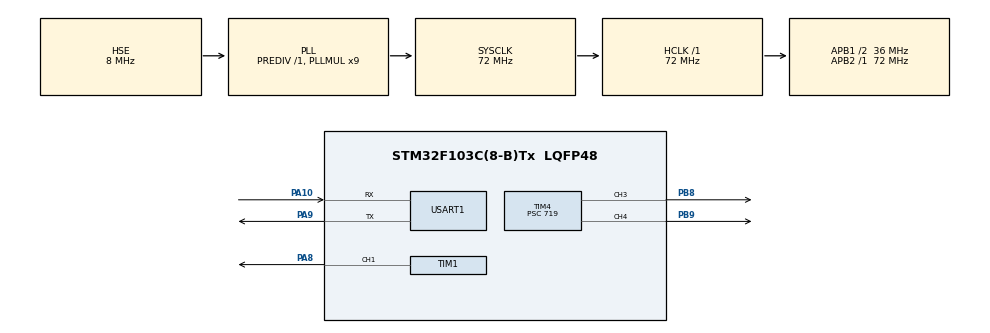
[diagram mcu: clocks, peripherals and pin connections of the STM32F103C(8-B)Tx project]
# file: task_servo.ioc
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Dma.Request0=USART1_RX
Dma.Request1=USART1_TX
Dma.USART1_RX.0.Direction=DMA_PERIPH_TO_MEMORY
Dma.USART1_RX.0.Instance=DMA1_Channel5
Dma.USART1_RX.0.MemDataAlignment=DMA_MDATAALIGN_BYTE
Dma.USART1_RX.0.MemInc=DMA_MINC_ENABLE
Dma.USART1_RX.0.Mode=DMA_NORMAL
Dma.USART1_RX.0.PeriphDataAlignment=DMA_PDATAALIGN_BYTE
Dma.USART1_RX.0.PeriphInc=DMA_PINC_DISABLE
Dma.USART1_RX.0.Priority=DMA_PRIORITY_LOW
Dma.USART1_TX.1.Direction=DMA_MEMORY_TO_PERIPH
Dma.USART1_TX.1.Instance=DMA1_Channel4
Dma.USART1_TX.1.MemDataAlignment=DMA_MDATAALIGN_BYTE
Dma.USART1_TX.1.MemInc=DMA_MINC_ENABLE
Dma.USART1_TX.1.Mode=DMA_NORMAL
Dma.USART1_TX.1.PeriphDataAlignment=DMA_PDATAALIGN_BYTE
Dma.USART1_TX.1.PeriphInc=DMA_PINC_DISABLE
Dma.USART1_TX.1.Priority=DMA_PRIORITY_LOW
Mcu.Family=STM32F1
Mcu.Name=STM32F103C(8-B)Tx
Mcu.Package=LQFP48
NVIC.DMA1_Channel4_IRQn=true\:0\:0\:false\:false\:true\:false\:true\:true
NVIC.DMA1_Channel5_IRQn=true\:0\:0\:false\:false\:true\:false\:true\:true
NVIC.PriorityGroup=NVIC_PRIORITYGROUP_4
NVIC.TIM1_UP_IRQn=true\:0\:0\:false\:false\:true\:true\:true\:true
NVIC.TIM4_IRQn=true\:0\:0\:false\:false\:true\:true\:true\:true
NVIC.USART1_IRQn=true\:0\:0\:false\:false\:true\:false\:true\:true
PA10.Mode=Asynchronous
PA10.Signal=USART1_RX
PA13.Mode=Serial_Wire
PA13.Signal=SYS_JTMS-SWDIO
PA14.Mode=Serial_Wire
PA14.Signal=SYS_JTCK-SWCLK
PA8.Signal=S_TIM1_CH1
PA9.Mode=Asynchronous
PA9.Signal=USART1_TX
PB8.Signal=S_TIM4_CH3
PB9.Signal=S_TIM4_CH4
PD0-OSC_IN.Mode=HSE-External-Oscillator
PD0-OSC_IN.Signal=RCC_OSC_IN
PD1-OSC_OUT.Mode=HSE-External-Oscillator
PD1-OSC_OUT.Signal=RCC_OSC_OUT
ProjectManager.HeapSize=0x200
ProjectManager.StackSize=0x400
ProjectManager.TargetToolchain=CMake
RCC.AHBFreq_Value=72000000
RCC.APB1CLKDivider=RCC_HCLK_DIV2
RCC.APB1Freq_Value=36000000
RCC.APB1TimFreq_Value=72000000
RCC.APB2Freq_Value=72000000
RCC.APB2TimFreq_Value=72000000
RCC.EnbaleCSS=true
RCC.HCLKFreq_Value=72000000
RCC.PLLMUL=RCC_PLL_MUL9
RCC.PLLSourceVirtual=RCC_PLLSOURCE_HSE
RCC.SYSCLKFreq_VALUE=72000000
RCC.SYSCLKSource=RCC_SYSCLKSOURCE_PLLCLK
RCC.USBFreq_Value=72000000
SH.S_TIM1_CH1.0=TIM1_CH1,Output Compare1 CH1
SH.S_TIM4_CH3.0=TIM4_CH3,PWM Generation3 CH3
SH.S_TIM4_CH4.0=TIM4_CH4,PWM Generation4 CH4
TIM1.Channel-Output\ Compare1\ CH1=TIM_CHANNEL_1
TIM4.Channel-PWM\ Generation3\ CH3=TIM_CHANNEL_3
TIM4.Channel-PWM\ Generation4\ CH4=TIM_CHANNEL_4
TIM4.Period=1999
TIM4.Prescaler=719
TIM4.Pulse-PWM\ Generation4\ CH4=1000-1
USART1.VirtualMode=VM_ASYNC
VP_TIM1_VS_ClockSourceINT.Mode=Internal
VP_TIM4_VS_ClockSourceINT.Mode=Internal
board=custom

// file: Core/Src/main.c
/* USER CODE BEGIN Header */
/**
  ******************************************************************************
  * @file           : main.c
  * @brief          : Main program body
  ******************************************************************************
  * @attention
  *
  * Copyright (c) 2025 STMicroelectronics.
  * All rights reserved.
  *
  * This software is licensed under terms that can be found in the LICENSE file
  * in the root directory of this software component.
  * If no LICENSE file comes with this software, it is provided AS-IS.
  *
  ******************************************************************************
  */
/* USER CODE END Header */
#include "main.h"
#include "dma.h"
#include "tim.h"
#include "usart.h"
#include "gpio.h"
#include <math.h>

/* USER CODE BEGIN PTD */
uint16_t angle;
int Data;
int ccr;
uint8_t Receivedata[50];
/* USER CODE END PTD */

void SystemClock_Config(void);

/* USER CODE BEGIN 0 */
int fun(uint8_t* Receivedata, int length) {
    int result = 0;
    for(int i = length - 1; i >= 0; i--)
    {
        if(Receivedata[i] >= '0' && Receivedata[i] <= '9')
        {
            result = result + (Receivedata[i] - '0') * pow(10, (length - i - 1));
        }
    }
    return result;
}

void HAL_UARTEx_RxEventCallback(UART_HandleTypeDef *huart, uint16_t Size)
{
  if(huart == &huart1)
  {
    HAL_UART_Transmit_DMA(&huart1, Receivedata, Size);
    HAL_GPIO_TogglePin(GPIOC, GPIO_PIN_13);
    Data = fun(Receivedata, Size);
    ccr = 50 + (Data / 180.0) * 200.0;  // Map angle (0-180) to CCR value (50-250)
    __HAL_TIM_SET_COMPARE(&htim4, TIM_CHANNEL_4, ccr);
    HAL_UARTEx_ReceiveToIdle_DMA(&huart1, Receivedata, sizeof(Receivedata));
  }
}
/* USER CODE END 0 */

int main(void)
{

  /* MCU Configuration--------------------------------------------------------*/

  /* Reset of all peripherals, Initializes the Flash interface and the Systick. */
  HAL_Init();

  /* Configure the system clock */
  SystemClock_Config();

  /* Initialize all configured peripherals */
  MX_GPIO_Init();
  MX_DMA_Init();
  MX_TIM1_Init();
  MX_TIM4_Init();
  MX_USART1_UART_Init();
  /* USER CODE BEGIN 2 */
  HAL_TIM_Base_Start_IT(&htim1);  // Start TIM1 in interrupt mode
  HAL_TIM_PWM_Start(&htim4, TIM_CHANNEL_4);  // Start PWM on TIM4 Channel 4
  HAL_TIM_PWM_Start(&htim4, TIM_CHANNEL_3);  // Start PWM on TIM4 Channel 3
  //HAL_UARTEx_ReceiveToIdle_DMA(&huart1, ang, 50);  // Start receiving data
  HAL_UARTEx_ReceiveToIdle_DMA(&huart1, Receivedata, sizeof(Receivedata));
  /* USER CODE END 2 */

  /* Infinite loop */
  while (1)
  {

  }
}

void SystemClock_Config(void)
{
  RCC_OscInitTypeDef RCC_OscInitStruct = {0};
  RCC_ClkInitTypeDef RCC_ClkInitStruct = {0};

  /** Initializes the RCC Oscillators according to the specified parameters
  * in the RCC_OscInitTypeDef structure.
  */
  RCC_OscInitStruct.OscillatorType = RCC_OSCILLATORTYPE_HSE;
  RCC_OscInitStruct.HSEState = RCC_HSE_ON;
  RCC_OscInitStruct.HSEPredivValue = RCC_HSE_PREDIV_DIV1;
  RCC_OscInitStruct.HSIState = RCC_HSI_ON;
  RCC_OscInitStruct.PLL.PLLState = RCC_PLL_ON;
  RCC_OscInitStruct.PLL.PLLSource = RCC_PLLSOURCE_HSE;
  RCC_OscInitStruct.PLL.PLLMUL = RCC_PLL_MUL9;
  if (HAL_RCC_OscConfig(&RCC_OscInitStruct) != HAL_OK)
  {
    Error_Handler();
  }

  /** Initializes the CPU, AHB and APB buses clocks
  */
  RCC_ClkInitStruct.ClockType = RCC_CLOCKTYPE_HCLK|RCC_CLOCKTYPE_SYSCLK
                              |RCC_CLOCKTYPE_PCLK1|RCC_CLOCKTYPE_PCLK2;
  RCC_ClkInitStruct.SYSCLKSource = RCC_SYSCLKSOURCE_PLLCLK;
  RCC_ClkInitStruct.AHBCLKDivider = RCC_SYSCLK_DIV1;
  RCC_ClkInitStruct.APB1CLKDivider = RCC_HCLK_DIV2;
  RCC_ClkInitStruct.APB2CLKDivider = RCC_HCLK_DIV1;

  if (HAL_RCC_ClockConfig(&RCC_ClkInitStruct, FLASH_LATENCY_2) != HAL_OK)
  {
    Error_Handler();
  }

  /** Enables the Clock Security System
  */
  HAL_RCC_EnableCSS();
}

void Error_Handler(void)
{
  __disable_irq();
  while (1)
  {
  }
}
